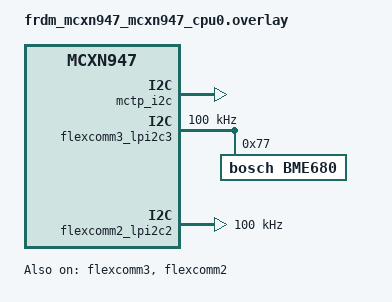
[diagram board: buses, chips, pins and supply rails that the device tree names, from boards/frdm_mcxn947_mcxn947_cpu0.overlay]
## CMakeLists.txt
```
cmake_minimum_required(VERSION 3.20.0)

find_package(Zephyr)
project(app1)

target_sources(app PRIVATE src/main.c)
```

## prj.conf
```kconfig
CONFIG_STDOUT_CONSOLE=y
CONFIG_POSIX_API=y
CONFIG_TEST_RANDOM_GENERATOR=y
CONFIG_HEAP_MEM_POOL_SIZE=8192
CONFIG_MAIN_STACK_SIZE=4096
CONFIG_LOG=y

CONFIG_SENSOR=y
CONFIG_SENSOR_ASYNC_API=y

CONFIG_ZENOH_PICO=y
CONFIG_ZENOH_PICO_LINK_MCTP=y
CONFIG_ZENOH_PICO_QUERYABLE=y
CONFIG_ZENOH_PICO_PUBLICATION=y
CONFIG_ZENOH_PICO_MULTI_THREAD=y

CONFIG_I2C=y
CONFIG_I2C_TARGET=y

CONFIG_MCTP=y
CONFIG_MCTP_I2C_GPIO_TARGET=y
CONFIG_MCTP_LOG_LEVEL_DBG=y
CONFIG_MCTP_ENDPOINT_ID=11
```

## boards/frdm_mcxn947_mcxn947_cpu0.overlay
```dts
/*
 * Copyright (c) 2025 Intel Corporation
 *
 * SPDX-License-Identifier: Apache-2.0
 */

#include <zephyr/dt-bindings/i2c/i2c.h>

/delete-node/ &lpcmp0;

&flexcomm3 {
	status = "okay";
};

&flexcomm3_lpi2c3 {
	status = "okay";
	pinctrl-0 = <&pinmux_flexcomm3_lpi2c>;
	pinctrl-names = "default";
	clock-frequency = <I2C_BITRATE_STANDARD>;
	bme680: bme680@77 {
		compatible = "bosch,bme680";
		reg = <0x77>;
		status = "okay";
	};
};

&nxp_lcd_8080_connector {
	status = "disabled";
};

&flexio0 {
	status = "disabled";
};

&gpio0 {
	status = "okay";
};

&flexcomm2 {
	status = "okay";
};

&flexcomm2_lpi2c2 {
	status = "okay";
	clock-frequency = <I2C_BITRATE_STANDARD>;
};


/ {
	mctp_i2c: mctp_i2c {
		compatible = "zephyr,mctp-i2c-gpio-target";
		i2c = <&flexcomm2_lpi2c2>;
		i2c-addr = <70>;
		endpoint-id = <11>;
		endpoint-gpios = <&gpio0 7 GPIO_ACTIVE_HIGH>;
	};
};
```

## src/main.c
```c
#include <zephyr/device.h>
#include <zephyr/sys/util_macro.h>
#include <zephyr/kernel.h>
#include <zephyr/drivers/sensor.h>
#include <zephyr/drivers/sensor_data_types.h>
#include <zephyr/rtio/rtio.h>
#include <zephyr/pmci/mctp/mctp.h>
#include <zephyr/pmci/mctp/mctp_i2c_gpio_target.h>
#include <zephyr/kernel.h>
#include <zephyr/sys/timeutil.h>
#include <zenoh-pico.h>

#include <zephyr/logging/log.h>
LOG_MODULE_REGISTER(sensor_hub_pub);

#define POLL_PERIOD_MS 1000

const struct device *const bme680 = DEVICE_DT_GET(DT_NODELABEL(bme680));

#define CHANS 4
#define BME680_CHANS(X, SEP) \
	X(0, "Ambient Temp (C)", SENSOR_CHAN_AMBIENT_TEMP, 0) SEP() \
	X(1, "Pressure (kP)", SENSOR_CHAN_PRESS, 0) SEP() \
	X(2, "Relative Humidity (%)", SENSOR_CHAN_HUMIDITY, 0)

#define COMMA_SEP() ,
#define SEMI_SEP() ;
#define CHAN_SPEC_X(_idx, _name, chan_type, chan_idx) {chan_type, chan_idx}
#define IODEV_CHANS BME680_CHANS(CHAN_SPEC_X, COMMA_SEP)

SENSOR_DT_READ_IODEV(bme680_io, DT_NODELABEL(bme680), IODEV_CHANS);

RTIO_DEFINE(r, 1, 1);

MCTP_I2C_GPIO_TARGET_DT_DEFINE(mctp_i2c_ctrl, DT_NODELABEL(mctp_i2c));

static uint8_t read_buf[128];

/* Readings into an array */
struct sensor_chan_spec chan_specs[CHANS] = {
	BME680_CHANS(CHAN_SPEC_X, COMMA_SEP)
};
struct sensor_q31_data readings[CHANS];


int poll_sensors()
{
	const struct sensor_decoder_api *decoder;
	int rc;

	rc = sensor_read(&bme680_io, &r, read_buf, ARRAY_SIZE(read_buf));
		rc = sensor_get_decoder(bme680, &decoder);

	if (rc != 0) {
		LOG_INF("%s: sensor_get_decode() failed: %d\n", bme680->name, rc);
		return rc;
	}

	for (int i = 0; i < CHANS; i++) {
		int frame_idx = 0;

		decoder->decode(read_buf, chan_specs[i],
			&frame_idx, 1, &readings[i]);
	}

	LOG_INF("Readings:\n");

#define CHAN_PRINT_X(idx, desc, chan_type, chan_idx) \
	printk("  %d: %s %s%d.%d\n", idx, desc, PRIq_arg(readings[idx].readings[0].value, 2, readings[idx].shift));

	BME680_CHANS(CHAN_PRINT_X, SEMI_SEP);

	return 0;
}

int pub_sensors()
{
	return 0;
}

#define MODE "peer"
#define LOCATOR "mctp/20"

#define KEYEXPR "demo/example/zenoh-pico-pub"
#define VALUE "Pub from Zenoh-Pico!"

#if Z_FEATURE_PUBLICATION == 1
int main(int argc, char **argv)
{
	LOG_INF("Sensor Pub, MCTP EID %d on %s\n", mctp_i2c_ctrl.endpoint_id, CONFIG_BOARD_TARGET);
	zephyr_mctp_register_bus(&mctp_i2c_ctrl.binding);

	// Initialize Zenoh Session and other parameters
	z_owned_config_t config;
	z_config_default(&config);
	zp_config_insert(z_loan_mut(config), Z_CONFIG_MODE_KEY, MODE);
	if (strcmp(LOCATOR, "") != 0) {
		zp_config_insert(z_loan_mut(config), Z_CONFIG_CONNECT_KEY, LOCATOR);
	}

	// Open Zenoh session
	LOG_INF("Opening Zenoh Session...");
	z_owned_session_t s;
	while (z_open(&s, z_move(config), NULL) < 0) {
		LOG_INF("Unable to open session, retrying in a few");
		k_msleep(5000);
	}


	// Start the receive and the session lease loop for zenoh-pico
	LOG_INF("Starting read+lease tasks");
	zp_start_read_task(z_loan_mut(s), NULL);
	zp_start_lease_task(z_loan_mut(s), NULL);

	LOG_INF("Declaring publisher for '%s'...", KEYEXPR);
	z_view_keyexpr_t ke;
	z_view_keyexpr_from_str_unchecked(&ke, KEYEXPR);
	z_owned_publisher_t pub;
	if (z_declare_publisher(z_loan(s), &pub, z_loan(ke), NULL) < 0) {
		LOG_ERR("Unable to declare publisher for key expression!");
		return -1;
	}


	LOG_INF("Polling sensors");
    	char buf[256];
    	uint32_t i = 0;
    	while (1) {
		k_msleep(POLL_PERIOD_MS);
		poll_sensors();

		/* pub_sensors();*/
		z_owned_bytes_t payload;

		sprintf(buf, "Temp (C): %s%d.%d, Pressure (kP): %s%d.%d, Relative Humidity (%%): %s%d.%d",
		        PRIq_arg(readings[0].readings[0].value, 2, readings[0].shift),
		        PRIq_arg(readings[1].readings[0].value, 2, readings[1].shift),
		        PRIq_arg(readings[2].readings[0].value, 2, readings[2].shift)
		);

        	/*sprintf(buf, "[%4d] %s", i, VALUE); */
	        z_bytes_copy_from_str(&payload, buf);
		/*z_bytes_from_buf(&payload, read_buf, ARRAY_SIZE(read_buf), NULL, NULL); */

		z_publisher_put(z_loan(pub), z_move(payload), NULL);
		i += 1;
	}

	LOG_INF("Closing Zenoh Session...");
	z_drop(z_move(pub));
	z_drop(z_move(s));
	LOG_INF("Done");
	return 0;
}
#else
int main(void) {
    printf("ERROR: Zenoh pico was compiled without Z_FEATURE_PUBLICATION but this example requires it.\n");
    return -2;
}
#endif
```
